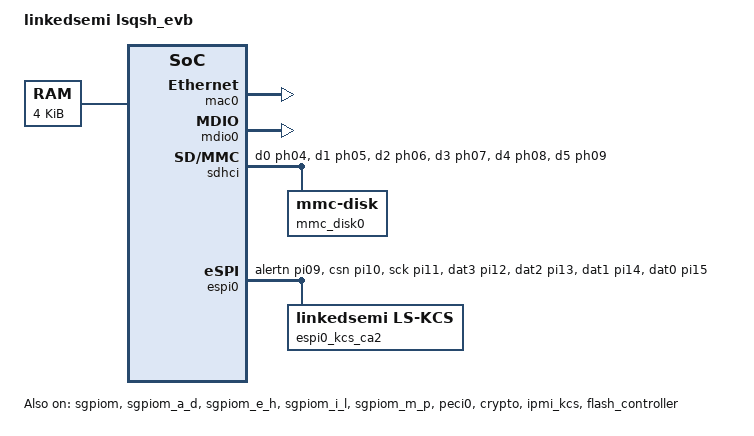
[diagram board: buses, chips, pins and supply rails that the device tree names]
/*
 * Copyright (c) 2024, linkedsemi
 * SPDX-License-Identifier: Apache-2.0
 */

/dts-v1/;
#include <riscv/linkedsemi/lsqsh.dtsi>
#include <zephyr/dt-bindings/pinctrl/lsqsh-pinctrl.h>
#include "lsqsh_pinctrl_common.dtsi"

#define BTN_GPIO_FLAGS (GPIO_ACTIVE_HIGH | GPIO_PULL_UP)

/ {
    model = "linkedsemi lsqsh_evb";
    compatible = "linkedsemi,lsqsh_evb";

    chosen {
        zephyr,flash = &flash0;
        zephyr,flash-controller = &flash_controller;
        zephyr,sram = &sram0;
        zephyr,console = &uart5;
        zephyr,shell-uart = &uart5;
    };

    aliases {
        peci-0 = &peci0;
        sdhc0 = &sdhci;
    };

    sram0_nocache: memory@1007f000{
        compatible = "zephyr,memory-region", "mmio-sram";
        reg = <(0x1007f000) DT_SIZE_K(4)>;
        device_type = "memory";
        zephyr,memory-region = "nocache";
    };

    soc {
        compatible = "simpe-bus";
        #address-cells = <1>;
        #size-cells = <1>;
        interrupt-parent = <&intc>;

        mbox: mbox@1013f000 {
            compatible = "linkedsemi,mbox";
            reg = <0x1013f000 0x1000>;
            interrupts = <27 3>;
            nchannels = <2>;
            fifo-deepth = <3>;
            fifo-width = <4>;
            #mbox-cells = <1>;
        };
    };

    mbox_consumer0: mbox-consumer0 {
        compatible = "vnd,mbox-consumer";
        mboxes = <&mbox 1>, <&mbox 0>;
        mbox-names = "tx", "rx";
    };

    mbox_consumer1: mbox-consumer1 {
        compatible = "vnd,mbox-consumer";
        mboxes = <&mbox 3>, <&mbox 2>;
        mbox-names = "tx", "rx";
    };
};

&cpu0 {
    clock-frequency = <50000000>;
    cpu-power-states = <&idle &lp0>;
    status = "okay";
};

&cpu1 {
    status = "disabled";
};

&gpioa {
    status = "okay";
};

&gpiob {
    status = "okay";
};

&gpioc {
    status = "okay";
};

&gpiod {
    status = "okay";
};

&gpioe {
    status = "okay";
};

&gpiof {
    status = "okay";
};

&gpiog {
    status = "okay";
};

&gpioh {
    status = "okay";
};

&gpioi {
    status = "okay";
};

&gpioj {
    status = "okay";
};

&gpiok {
    status = "okay";
};

&gpiom {
    status = "okay";
};

&gpion {
    status = "okay";
};

&gpioq {
    status = "okay";
};

&gpiot {
    status = "okay";
};

&sgpiom {
    ngpios = <128>;
    pinctrl-0 = <&sgpiom_clk_pe06
                &sgpiom_di_pe07
                &sgpiom_do_pe08
                &sgpiom_ld_pe09>;
    pinctrl-names = "default";
    status = "okay";
};

&sgpiom_a_d {
    status = "okay";
};

&sgpiom_e_h {
    status = "okay";
};

&sgpiom_i_l {
    status = "okay";
};

&sgpiom_m_p {
    status = "okay";
};

&mac0 {
    pinctrl-0 = <&rmii_txen_pt03
                &rmii_txd0_pt04
                &rmii_txd1_pt05
                &rmii_rxc_pt08
                &rmii_crsdv_pt09
                &rmii_rxd0_pt10
                &rmii_rxd1_pt11>;
    pinctrl-names = "default";
    status = "okay";
};

&mdio0 {
    pinctrl-0 = <&rmii_mdc_pt00
                &rmii_mdio_pt01>;
    pinctrl-names = "default";
    status = "okay";
};

&peci0 {
    pinctrl-0 = <&peci_pk00>;
    pinctrl-names = "default";
    status = "okay";
};

&sdhci {
    pinctrl-0 = <&sdhc_d0_ph04
                &sdhc_d1_ph05
                &sdhc_d2_ph06
                &sdhc_d3_ph07
                &sdhc_d4_ph08
                &sdhc_d5_ph09
                &sdhc_d6_ph010
                &sdhc_d7_ph011
                &sdhc_clk_ph012
                &sdhc_cmd_ph013>;
    pinctrl-names = "default";
    status = "okay";

    mmc_disk0: disk {
        compatible = "zephyr,mmc-disk";
        disk-name = "SD";
        bus-width = <1>;
        status = "okay";
    };
};

&crypto {
    status = "okay";
};

tst_dma0: &dma0 {
    status = "okay";
};

&lpc {
    pinctrl-0 = <&lpc_serirq_pi09
                &lpc_frm_pi10
                &lpc_clk_pi11
                &lpc_dat3_pi12
                &lpc_dat2_pi13
                &lpc_dat1_pi14
                &lpc_dat0_pi15>;
    pinctrl-names = "default";
    status = "disabled";

    lpc_kcs_ca2: lpc_kcs_ca2 {
        compatible = "linkedsemi,ls-kcs";
        port = <0xca2 0xca3>;
        status = "disabled";
    };
};

&espi0 {
    pinctrl-0 = <&espi1_alertn_pi09
                &espi1_csn_pi10
                &espi1_sck_pi11
                &espi1_dat3_pi12
                &espi1_dat2_pi13
                &espi1_dat1_pi14
                &espi1_dat0_pi15>;
    pinctrl-names = "default";
    status = "okay";

    espi0_kcs_ca2: espi0_kcs_ca2 {
        compatible = "linkedsemi,ls-kcs";
        port = <0xca2 0xca3>;
        status = "okay";
    };
};

&ipmi_kcs {
    kcs_chan = <&espi0_kcs_ca2>;
    status = "okay";
};

&flash_controller {
    pinctrl-0 = <&qspi1_sck_pq10 &qspi1_cs_pq11 &qspi1_dq0_pq12 &qspi1_dq1_pq13 &qspi1_dq2_pq14 &qspi1_dq3_pq15>;
    pinctrl-names = "default";
    status = "okay";
};

&flash0 {
    /*
   * Flash base address is 0x8000000,
   * the following parts are all offset addresses.
   */
   partitions {
       compatible = "fixed-partitions";
       #address-cells = <1>;
       #size-cells = <1>;

       boot_partition: partition@0 {
           label = "info-sbl";
           reg = <0x00000000 0x00000800>;
       };

       app_partition: partition@800 {
           label = "app";
           reg = <0x00000800 0x0007c800>;
       };

        storage_partition: partition@7d000 {
           label = "storage";
           reg = <0x0007d000 0x00003000>;
       };
   };
   status = "okay";
};
